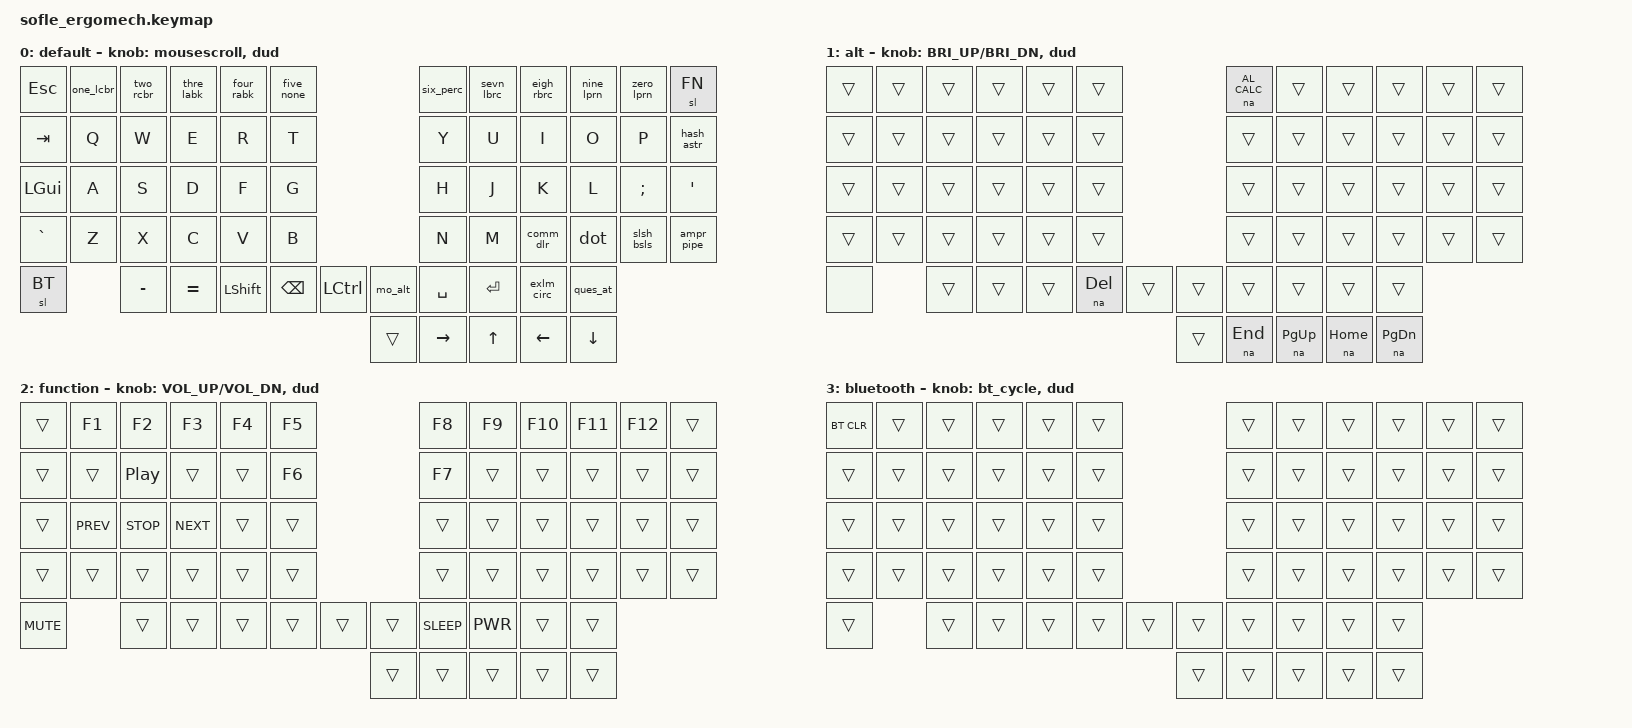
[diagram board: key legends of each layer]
/*
 * Copyright (c) 2020 The ZMK Contributors
 *
 * SPDX-License-Identifier: MIT
 */
#define ZMK_POINTING_DEFAULT_SCRL_VAL 300
#include <dt-bindings/zmk/pointing.h>
#include <behaviors.dtsi>
#include <dt-bindings/zmk/bt.h>
#include <dt-bindings/zmk/ext_power.h>
#include <dt-bindings/zmk/keys.h>
#include <dt-bindings/zmk/rgb.h>

#define BASE 0
#define ALT 1
#define FN 2
#define BT 3

#define CALC C_AL_CALC

/ {
    // Activate ADJUST layer by pressing raise and lower

    // conditional_layers {
    //     compatible = "zmk,conditional-layers";

    //     adjust_layer {
    //         if-layers = <LOWER RAISE>;
    //         then-layer = <ADJUST>;
    //     };
    // };
	
	behaviors {
        mousescroll: mousescroll {
            compatible = "zmk,behavior-sensor-rotate";
            #sensor-binding-cells = <0>;
            bindings = <&msc SCRL_UP>, <&msc SCRL_DOWN>;
			tap-ms = <20>;
        };

        dud: dud {
            compatible = "zmk,behavior-sensor-rotate";
            #sensor-binding-cells = <0>;
            bindings = <&msc SCRL_UP>, <&msc SCRL_DOWN>;
			tap-ms = <20>;
        };

        bt_cycle: bt_cycle {
            compatible = "zmk,behavior-sensor-rotate";
            #sensor-binding-cells = <0>;
            bindings = <&bt BT_PRV>, <&bt BT_NXT>;
			tap-ms = <20>;
        };

        mo_alt: mo_alt {
            compatible = "zmk,behavior-macro";
            wait-ms = <0>;
            tap-ms = <0>;
            #binding-cells = <0>;
            bindings = <&macro_press &mo ALT>,
                <&macro_press &kp LALT>,
                <&macro_pause_for_release>,
                <&macro_release &kp LALT>,
                <&macro_release &mo ALT>;
        };

        na: no_alt {
            compatible = "zmk,behavior-macro-one-param";
            wait-ms = <0>;
            tap-ms = <0>;
            #binding-cells = <1>;
            bindings = <&macro_release &kp LALT>,
                <&macro_param_1to1>,
                <&macro_press &kp MACRO_PLACEHOLDER>,
                <&macro_pause_for_release>,
                <&macro_param_1to1>,
                <&macro_release &kp MACRO_PLACEHOLDER>,
                <&macro_press &kp LALT>;
        };

        comm_dlr: comma_dollar {
            compatible = "zmk,behavior-mod-morph";
            #binding-cells = <0>;
            bindings = <&kp COMMA>, <&kp DOLLAR>;
            mods = <(MOD_LSFT)>;
        };

        dot: dot_dot {
            compatible = "zmk,behavior-mod-morph";
            #binding-cells = <0>;
            bindings = <&kp DOT>, <&kp DOT>;
            mods = <(MOD_LSFT)>;
        };
        
        slsh_bsls: slash_back_slash {
            compatible = "zmk,behavior-mod-morph";
            #binding-cells = <0>;
            bindings = <&kp FSLH>, <&kp BSLH>;
            mods = <(MOD_LSFT)>;
        };

        exlm_circ: exclamation_caret {
            compatible = "zmk,behavior-mod-morph";
            #binding-cells = <0>;
            bindings = <&kp EXCL>, <&kp CARET>;
            mods = <(MOD_LSFT)>;
        };
        
        ampr_pipe: ampersand_pipe {
            compatible = "zmk,behavior-mod-morph";
            #binding-cells = <0>;
            bindings = <&kp AMPS>, <&kp PIPE>;
            mods = <(MOD_LSFT)>;
        };
        
        ques_at: question_at {
            compatible = "zmk,behavior-mod-morph";
            #binding-cells = <0>;
            bindings = <&kp QMARK>, <&kp AT>;
            mods = <(MOD_LSFT)>;
        };

        hash_astr: hash_asterisk {
            compatible = "zmk,behavior-mod-morph";
            #binding-cells = <0>;
            bindings = <&kp HASH>, <&kp ASTERISK>;
            mods = <(MOD_LSFT)>;
        };
        
        // Any mods: remove shift and replace with 1
        one_lcbr: one_left_brace {
            compatible = "zmk,behavior-mod-morph";
            #binding-cells = <0>;
            bindings = <&kp LBRC>, <&kp N1>;
            mods = <(MOD_LSFT|MOD_LCTL|MOD_LALT|MOD_LGUI)>;
            keep-mods = <(MOD_LCTL|MOD_LALT|MOD_LGUI)>;
        };

        two_rcbr: two_right_brace {
            compatible = "zmk,behavior-mod-morph";
            #binding-cells = <0>;
            bindings = <&kp RBRC>, <&kp N2>;
            mods = <(MOD_LSFT|MOD_LCTL|MOD_LALT|MOD_LGUI)>;
            keep-mods = <(MOD_LCTL|MOD_LALT|MOD_LGUI)>;
        };

        thre_labk: three_left_angle {
            compatible = "zmk,behavior-mod-morph";
            #binding-cells = <0>;
            bindings = <&kp LT>, <&kp N3>;
            mods = <(MOD_LSFT|MOD_LCTL|MOD_LALT|MOD_LGUI)>;
            keep-mods = <(MOD_LCTL|MOD_LALT|MOD_LGUI)>;
        };

        four_rabk: four_right_angle {
            compatible = "zmk,behavior-mod-morph";
            #binding-cells = <0>;
            bindings = <&kp GT>, <&kp N4>;
            mods = <(MOD_LSFT|MOD_LCTL|MOD_LALT|MOD_LGUI)>;
            keep-mods = <(MOD_LCTL|MOD_LALT|MOD_LGUI)>;
        };
        
        five_none: five_none {
            compatible = "zmk,behavior-mod-morph";
            #binding-cells = <0>;
            bindings = <&kp PSCRN>, <&kp N5>;
            mods = <(MOD_LSFT|MOD_LCTL|MOD_LALT|MOD_LGUI)>;
            keep-mods = <(MOD_LCTL|MOD_LALT|MOD_LGUI)>;
        };

        six_perc: six_percent {
            compatible = "zmk,behavior-mod-morph";
            #binding-cells = <0>;
            bindings = <&kp PRCNT>, <&kp N6>;
            mods = <(MOD_LSFT|MOD_LCTL|MOD_LALT|MOD_LGUI)>;
            keep-mods = <(MOD_LCTL|MOD_LALT|MOD_LGUI)>;
        };
        
        sevn_lbrc: seven_left_bracket {
            compatible = "zmk,behavior-mod-morph";
            #binding-cells = <0>;
            bindings = <&kp LBKT>, <&kp N7>;
            mods = <(MOD_LSFT|MOD_LCTL|MOD_LALT|MOD_LGUI)>;
            keep-mods = <(MOD_LCTL|MOD_LALT|MOD_LGUI)>;
        };
        
        eigh_rbrc: eight_right_bracket {
            compatible = "zmk,behavior-mod-morph";
            #binding-cells = <0>;
            bindings = <&kp RBKT>, <&kp N8>;
            mods = <(MOD_LSFT|MOD_LCTL|MOD_LALT|MOD_LGUI)>;
            keep-mods = <(MOD_LCTL|MOD_LALT|MOD_LGUI)>;
        };
        
        nine_lprn: nine_left_parentheses {
            compatible = "zmk,behavior-mod-morph";
            #binding-cells = <0>;
            bindings = <&kp LPAR>, <&kp N9>;
            mods = <(MOD_LSFT|MOD_LCTL|MOD_LALT|MOD_LGUI)>;
            keep-mods = <(MOD_LCTL|MOD_LALT|MOD_LGUI)>;
        };
        
        zero_lprn: zero_right_parentheses {
            compatible = "zmk,behavior-mod-morph";
            #binding-cells = <0>;
            bindings = <&kp RPAR>, <&kp N0>;
            mods = <(MOD_LSFT|MOD_LCTL|MOD_LALT|MOD_LGUI)>;
            keep-mods = <(MOD_LCTL|MOD_LALT|MOD_LGUI)>;
        };
    };

    keymap {
        compatible = "zmk,keymap";

        default_layer {
            label = "default";

            bindings = <
&kp ESC     &one_lcbr   &two_rcbr   &thre_labk  &four_rabk  &five_none                          &six_perc   &sevn_lbrc  &eigh_rbrc  &nine_lprn  &zero_lprn  &sl FN
&kp TAB     &kp Q       &kp W       &kp E       &kp R       &kp T                               &kp Y       &kp U       &kp I       &kp O       &kp P       &hash_astr
&kp LGUI    &kp A       &kp S       &kp D       &kp F       &kp G                               &kp H       &kp J       &kp K       &kp L       &kp SEMI    &kp SQT
&kp GRAVE   &kp Z       &kp X       &kp C       &kp V       &kp B                               &kp N       &kp M       &comm_dlr   &dot        &slsh_bsls  &ampr_pipe
&sl BT                  &kp MINUS   &kp EQUAL   &kp LSHIFT  &kp BSPC    &kp LCTRL   &mo_alt     &kp SPACE   &kp ENTER   &exlm_circ  &ques_at

                                                                                    &trans      &kp RIGHT   &kp UP      &kp LEFT    &kp DOWN
            >;

            sensor-bindings = <&mousescroll &dud>;
        };
        alt_layer {
            label = "alt";
            
            bindings = <
&trans      &trans      &trans      &trans      &trans      &trans                              &na CALC    &trans      &trans      &trans      &trans      &trans
&trans      &trans      &trans      &trans      &trans      &trans                              &trans      &trans      &trans      &trans      &trans      &trans
&trans      &trans      &trans      &trans      &trans      &trans                              &trans      &trans      &trans      &trans      &trans      &trans
&trans      &trans      &trans      &trans      &trans      &trans                              &trans      &trans      &trans      &trans      &trans      &trans
&none                   &trans      &trans      &trans      &na DEL     &trans      &trans      &trans      &trans      &trans      &trans

                                                                                    &trans      &na END     &na PG_UP   &na HOME    &na PG_DN
            >;

            sensor-bindings = <&inc_dec_kp C_BRI_UP C_BRI_DN &dud>;
        };

        function_layer {
            label = "function";
            
            bindings = <
&trans      &kp F1      &kp F2      &kp F3      &kp F4      &kp F5                              &kp F8      &kp F9      &kp F10     &kp F11     &kp F12     &trans
&trans      &trans      &kp C_PP    &trans      &trans      &kp F6                              &kp F7      &trans      &trans      &trans      &trans      &trans
&trans      &kp C_PREV  &kp C_STOP  &kp C_NEXT  &trans      &trans                              &trans      &trans      &trans      &trans      &trans      &trans
&trans      &trans      &trans      &trans      &trans      &trans                              &trans      &trans      &trans      &trans      &trans      &trans
&kp C_MUTE              &trans      &trans      &trans      &trans      &trans      &trans      &kp C_SLEEP &kp C_PWR   &trans      &trans

                                                                                    &trans      &trans      &trans      &trans      &trans
            >;

            sensor-bindings = <&inc_dec_kp C_VOL_UP C_VOL_DN &dud>;
        };

        bluetooth_layer {
            label = "bluetooth";
            
            bindings = <
&bt BT_CLR  &trans      &trans      &trans      &trans      &trans                              &trans      &trans      &trans      &trans      &trans      &trans
&trans      &trans      &trans      &trans      &trans      &trans                              &trans      &trans      &trans      &trans      &trans      &trans
&trans      &trans      &trans      &trans      &trans      &trans                              &trans      &trans      &trans      &trans      &trans      &trans
&trans      &trans      &trans      &trans      &trans      &trans                              &trans      &trans      &trans      &trans      &trans      &trans
&trans                  &trans      &trans      &trans      &trans      &trans      &trans      &trans      &trans      &trans      &trans

                                                                                    &trans      &trans      &trans      &trans      &trans
            >;

            sensor-bindings = <&bt_cycle &dud>;
        };

//         raise_layer {
//             label = "raise";

//             bindings = <
// &bt BT_CLR  &bt BT_SEL 0 &bt BT_SEL 1 &bt BT_SEL 2 &bt BT_SEL 3 &bt BT_SEL 4                    &trans      &trans      &trans      &trans      &trans      &trans
// &trans      &trans      &trans      &trans      &trans      &trans                              &trans      &trans      &trans      &trans      &trans      &trans
// &trans      &trans      &trans      &trans      &trans      &trans                              &trans      &trans      &trans      &trans      &trans      &trans
// &trans      &trans      &trans      &trans      &trans      &trans                              &trans      &trans      &trans      &trans      &trans      &trans
// &trans                  &trans      &trans      &trans      &trans      &trans      &trans      &trans      &trans      &trans      &trans

//                                                                                     &trans      &kp END     &kp PG_UP   &kp HOME    &kp PG_DN
//             >;

//             sensor-bindings = <&bt_cycle &inc_dec_kp PG_UP PG_DN>;
//         };

//         adjust_layer {
//             // ----------------------------------------------------------------------------------------------------------------------------
//             // | BTCLR  |  BT1    |  BT2    |   BT3   |   BT4   |   BT5   |                  |      |      |       |      |       |       |
//             // | EXTPWR | RGB_HUD | RGB_HUI | RGB_SAD | RGB_SAI | RGB_EFF |                  |      |      |       |      |       |       |
//             // |        | RGB_BRD | RGB_BRI |         |         |         |                  |      |      |       |      |       |       |
//             // |        |         |         |         |         |         | RGB_TOG | |      |      |      |       |      |       |       |
//             //                    |         |         |         |         |         | |      |      |      |       |      |

//             label = "adjust";
//             bindings = <
// &bt BT_CLR         &bt BT_SEL 0     &bt BT_SEL 1     &bt BT_SEL 2     &bt BT_SEL 3     &bt BT_SEL 4     &none  &none  &none  &none  &none  &none
// &ext_power EP_TOG  &rgb_ug RGB_HUD  &rgb_ug RGB_HUI  &rgb_ug RGB_SAD  &rgb_ug RGB_SAI  &rgb_ug RGB_EFF  &none  &none  &none  &none  &none  &none
// &none              &rgb_ug RGB_BRD  &rgb_ug RGB_BRI  &none            &none            &none            &none  &none  &none  &none  &none  &none
// &none              &none            &none            &none            &none            &none            &none  &none  &none  &none  &none  &none
// &rgb_ug RGB_TOG    &none            &none            &none            &none            &none            &none  &none  &none  &none  &none
//                                                                                                         &kp A  &kp B  &kp C  &kp D  &kp E
//             >;
//         };
    };
};
